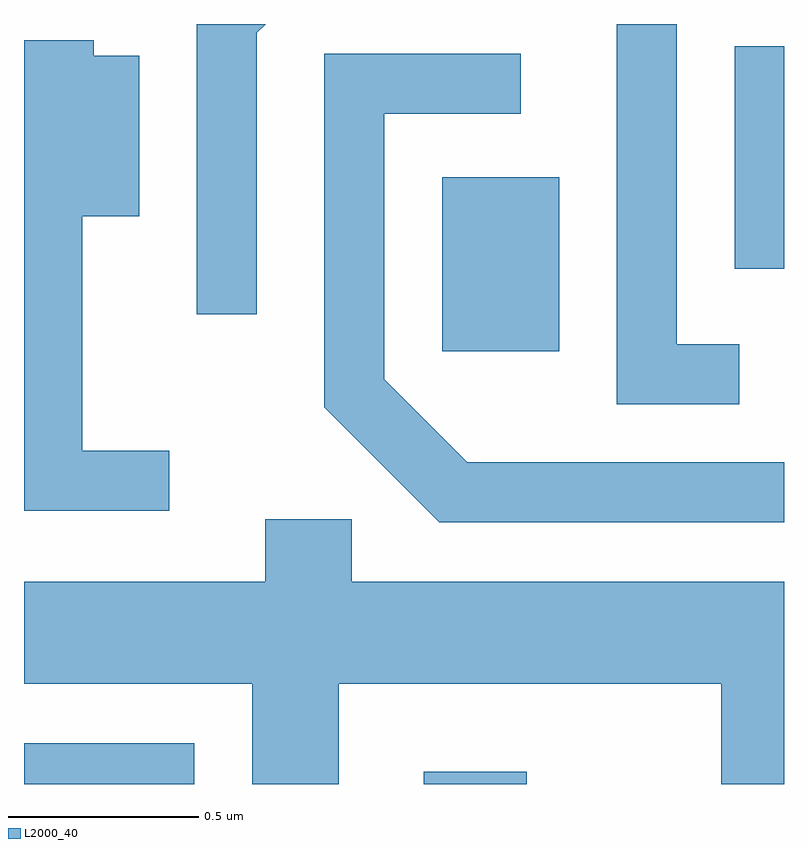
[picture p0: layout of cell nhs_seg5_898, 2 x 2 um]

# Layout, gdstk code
import gdstk
lib = gdstk.Library(unit=1e-6, precision=1e-09)
def R(c, l, rs):  # rectangles x0, y0, x1, y1
    for r in rs: c.add(gdstk.rectangle(r[:2], r[2:], *l))
def P(c, l, *ps):  # polygons
    for p in ps: c.add(gdstk.Polygon(p, *l))
L2000_40 = (2000, 40)

nhs_seg5_898 = lib.new_cell('nhs_seg5_898')
R(nhs_seg5_898, L2000_40, [(191.611,1472.072,192.059,1472.179), (192.663,1472.072,192.934,1472.104), (192.711,1473.211,193.019,1473.669), (193.481,1473.428,193.611,1474.014)])
P(nhs_seg5_898, L2000_40, [(192.224,1474.049),(192.247,1474.072),(192.066,1474.072),(192.066,1473.308),(192.224,1473.308)],
  [(193.493,1473.229),(193.329,1473.229),(193.329,1474.072),(193.171,1474.072),(193.171,1473.071),(193.493,1473.071)],
  [(191.993,1472.949),(191.764,1472.949),(191.764,1473.566),(191.914,1473.566),(191.914,1473.989),(191.794,1473.989),(191.794,1474.029),(191.611,1474.029),(191.611,1472.791),(191.993,1472.791)],
  [(193.611,1472.919),(192.777,1472.919),(192.559,1473.137),(192.559,1473.836),(192.918,1473.836),(192.918,1473.994),(192.401,1473.994),(192.401,1473.064),(192.704,1472.761),(193.611,1472.761)],
  [(192.439,1472.336),(193.446,1472.336),(193.446,1472.072),(193.611,1472.072),(193.611,1472.604),(192.474,1472.604),(192.474,1472.769),(192.246,1472.769),(192.246,1472.604),(191.611,1472.604),(191.611,1472.336),(192.211,1472.336),(192.211,1472.072),(192.439,1472.072)])

lib.write_gds('nhs_seg5_898.gds')
